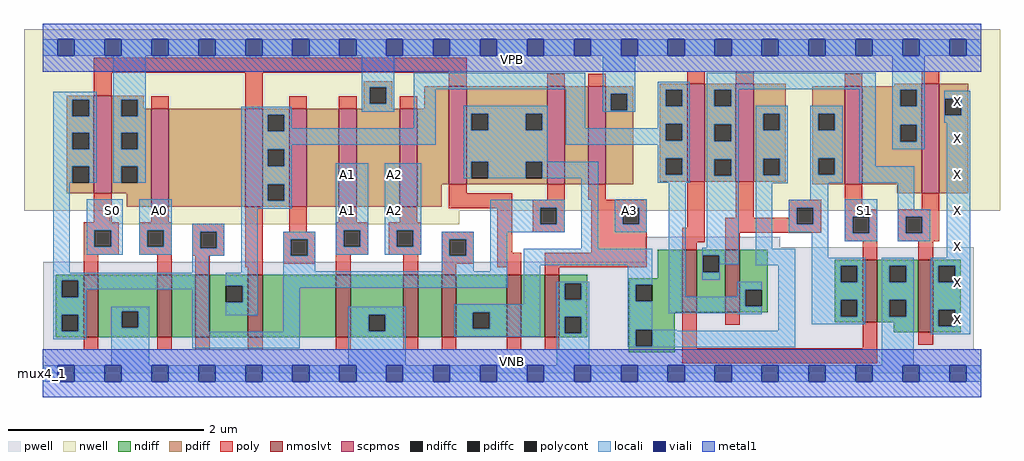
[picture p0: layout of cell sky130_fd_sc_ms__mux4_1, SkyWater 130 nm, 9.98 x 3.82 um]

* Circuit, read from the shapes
.subckt sky130_fd_sc_ms__mux4_1 A0 A1 A2 A3 S0 S1 VGND VNB VPB VPWR X
XM1 VGND S0 n1 VNB sky130_fd_pr__nfet_01v8_lvt w=0.64 l=0.15
XM2 n2 A0 VGND VNB sky130_fd_pr__nfet_01v8_lvt w=0.64 l=0.15
XM3 n3 n1 n2 VNB sky130_fd_pr__nfet_01v8_lvt w=0.64 l=0.15
XM4 n4 S0 n3 VNB sky130_fd_pr__nfet_01v8_lvt w=0.64 l=0.15
XM5 VGND A1 n4 VNB sky130_fd_pr__nfet_01v8_lvt w=0.64 l=0.15
XM6 n5 A2 VGND VNB sky130_fd_pr__nfet_01v8_lvt w=0.64 l=0.15
XM7 n6 n1 n5 VNB sky130_fd_pr__nfet_01v8_lvt w=0.64 l=0.15
XM8 n7 S0 n6 VNB sky130_fd_pr__nfet_01v8_lvt w=0.64 l=0.15
XM9 VGND A3 n7 VNB sky130_fd_pr__nfet_01v8_lvt w=0.64 l=0.15
XM10 n8 S1 n6 VNB sky130_fd_pr__nfet_01v8_lvt w=0.64 l=0.15
XM11 n3 n9 n8 VNB sky130_fd_pr__nfet_01v8_lvt w=0.64 l=0.15
XM12 VGND S1 n9 VNB sky130_fd_pr__nfet_01v8_lvt w=0.64 l=0.15
XM13 X n8 VGND VNB sky130_fd_pr__nfet_01v8_lvt w=0.74 l=0.15
XM14 VPWR S0 n1 VPB sky130_fd_pr__pfet_01v8 w=1 l=0.18
XM15 n10 A0 VPWR VPB sky130_fd_pr__pfet_01v8 w=1 l=0.18
XM16 n3 S0 n10 VPB sky130_fd_pr__pfet_01v8 w=1 l=0.18
XM17 n11 n1 n3 VPB sky130_fd_pr__pfet_01v8 w=1 l=0.18
XM18 VPWR A1 n11 VPB sky130_fd_pr__pfet_01v8 w=1 l=0.18
XM19 n12 A2 VPWR VPB sky130_fd_pr__pfet_01v8 w=1 l=0.18
XM20 n6 S0 n12 VPB sky130_fd_pr__pfet_01v8 w=1 l=0.18
XM21 n13 n1 n6 VPB sky130_fd_pr__pfet_01v8 w=1 l=0.18
XM22 VPWR A3 n13 VPB sky130_fd_pr__pfet_01v8 w=1 l=0.18
XM23 n8 S1 n3 VPB sky130_fd_pr__pfet_01v8 w=1 l=0.18
XM24 n6 n9 n8 VPB sky130_fd_pr__pfet_01v8 w=1 l=0.18
XM25 VPWR S1 n9 VPB sky130_fd_pr__pfet_01v8 w=1 l=0.18
XM26 X n8 VPWR VPB sky130_fd_pr__pfet_01v8 w=1.12 l=0.18
.ends

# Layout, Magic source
magic
tech sky130A
magscale 1 2
<< nwell >>
rect -38 332 1958 704
rect 136 305 852 332
<< pwell >>
rect 1232 258 1509 279
rect 1232 228 1904 258
rect 1 49 1904 228
rect 0 0 1920 49
<< scpmos >>
rect 105 368 141 568
rect 222 341 258 541
rect 414 341 450 541
rect 504 341 540 541
rect 606 341 642 541
rect 730 341 766 541
rect 831 387 867 587
rect 1032 387 1068 587
rect 1116 387 1152 587
rect 1318 392 1354 592
rect 1418 392 1454 592
rect 1640 387 1676 587
rect 1798 368 1834 592
<< nmoslvt >>
rect 84 74 114 202
rect 234 74 264 202
rect 312 74 342 202
rect 420 74 450 202
rect 600 74 630 202
rect 738 74 768 202
rect 816 74 846 202
rect 949 74 979 202
rect 1027 74 1057 202
rect 1308 125 1338 253
rect 1396 125 1426 253
rect 1677 104 1707 232
rect 1791 84 1821 232
<< ndiff >>
rect 27 190 84 202
rect 27 156 39 190
rect 73 156 84 190
rect 27 120 84 156
rect 27 86 39 120
rect 73 86 84 120
rect 27 74 84 86
rect 114 127 234 202
rect 114 93 162 127
rect 196 93 234 127
rect 114 74 234 93
rect 264 74 312 202
rect 342 179 420 202
rect 342 145 375 179
rect 409 145 420 179
rect 342 74 420 145
rect 450 74 600 202
rect 630 120 738 202
rect 630 86 667 120
rect 701 86 738 120
rect 630 74 738 86
rect 768 74 816 202
rect 846 125 949 202
rect 846 91 880 125
rect 914 91 949 125
rect 846 74 949 91
rect 979 74 1027 202
rect 1057 184 1114 202
rect 1258 194 1308 253
rect 1057 150 1068 184
rect 1102 150 1114 184
rect 1057 116 1114 150
rect 1057 82 1068 116
rect 1102 82 1114 116
rect 1057 74 1114 82
rect 1199 181 1308 194
rect 1199 147 1213 181
rect 1247 147 1308 181
rect 1199 125 1308 147
rect 1338 241 1396 253
rect 1338 207 1350 241
rect 1384 207 1396 241
rect 1338 125 1396 207
rect 1426 171 1483 253
rect 1426 137 1437 171
rect 1471 137 1483 171
rect 1426 125 1483 137
rect 1620 220 1677 232
rect 1620 186 1632 220
rect 1666 186 1677 220
rect 1620 150 1677 186
rect 1199 89 1293 125
rect 1199 55 1213 89
rect 1247 55 1293 89
rect 1199 43 1293 55
rect 1620 116 1632 150
rect 1666 116 1677 150
rect 1620 104 1677 116
rect 1707 220 1791 232
rect 1707 186 1732 220
rect 1766 186 1791 220
rect 1707 150 1791 186
rect 1707 116 1732 150
rect 1766 116 1791 150
rect 1707 104 1791 116
rect 1741 84 1791 104
rect 1821 220 1878 232
rect 1821 186 1832 220
rect 1866 186 1878 220
rect 1821 130 1878 186
rect 1821 96 1832 130
rect 1866 96 1878 130
rect 1821 84 1878 96
<< pdiff >>
rect 49 560 105 568
rect 49 526 61 560
rect 95 526 105 560
rect 49 492 105 526
rect 49 458 61 492
rect 95 458 105 492
rect 49 424 105 458
rect 49 390 61 424
rect 95 390 105 424
rect 49 368 105 390
rect 141 560 207 568
rect 141 526 161 560
rect 195 541 207 560
rect 657 585 715 597
rect 657 551 669 585
rect 703 551 715 585
rect 657 541 715 551
rect 781 541 831 587
rect 195 526 222 541
rect 141 492 222 526
rect 141 458 161 492
rect 195 458 222 492
rect 141 424 222 458
rect 141 390 161 424
rect 195 390 222 424
rect 141 368 222 390
rect 172 341 222 368
rect 258 341 414 541
rect 450 529 504 541
rect 450 495 460 529
rect 494 495 504 529
rect 450 458 504 495
rect 450 424 460 458
rect 494 424 504 458
rect 450 387 504 424
rect 450 353 460 387
rect 494 353 504 387
rect 450 341 504 353
rect 540 341 606 541
rect 642 341 730 541
rect 766 387 831 541
rect 867 531 1032 587
rect 867 497 877 531
rect 911 497 988 531
rect 1022 497 1032 531
rect 867 433 1032 497
rect 867 399 877 433
rect 911 399 988 433
rect 1022 399 1032 433
rect 867 387 1032 399
rect 1068 387 1116 587
rect 1152 572 1208 587
rect 1152 538 1162 572
rect 1196 538 1208 572
rect 1152 387 1208 538
rect 1262 580 1318 592
rect 1262 546 1274 580
rect 1308 546 1318 580
rect 1262 510 1318 546
rect 1262 476 1274 510
rect 1308 476 1318 510
rect 1262 440 1318 476
rect 1262 406 1274 440
rect 1308 406 1318 440
rect 1262 392 1318 406
rect 1354 580 1418 592
rect 1354 546 1374 580
rect 1408 546 1418 580
rect 1354 509 1418 546
rect 1354 475 1374 509
rect 1408 475 1418 509
rect 1354 438 1418 475
rect 1354 404 1374 438
rect 1408 404 1418 438
rect 1354 392 1418 404
rect 1454 531 1520 592
rect 1742 587 1798 592
rect 1454 497 1474 531
rect 1508 497 1520 531
rect 1454 439 1520 497
rect 1454 405 1474 439
rect 1508 405 1520 439
rect 1454 392 1520 405
rect 1574 531 1640 587
rect 1574 497 1586 531
rect 1620 497 1640 531
rect 1574 440 1640 497
rect 1574 406 1586 440
rect 1620 406 1640 440
rect 766 341 816 387
rect 1574 387 1640 406
rect 1676 580 1798 587
rect 1676 546 1754 580
rect 1788 546 1798 580
rect 1676 508 1798 546
rect 1676 474 1754 508
rect 1788 474 1798 508
rect 1676 387 1798 474
rect 1748 368 1798 387
rect 1834 562 1893 592
rect 1834 528 1845 562
rect 1879 528 1893 562
rect 1834 368 1893 528
<< ndiffc >>
rect 39 156 73 190
rect 39 86 73 120
rect 162 93 196 127
rect 375 145 409 179
rect 667 86 701 120
rect 880 91 914 125
rect 1068 150 1102 184
rect 1068 82 1102 116
rect 1213 147 1247 181
rect 1350 207 1384 241
rect 1437 137 1471 171
rect 1632 186 1666 220
rect 1213 55 1247 89
rect 1632 116 1666 150
rect 1732 186 1766 220
rect 1732 116 1766 150
rect 1832 186 1866 220
rect 1832 96 1866 130
<< pdiffc >>
rect 61 526 95 560
rect 61 458 95 492
rect 61 390 95 424
rect 161 526 195 560
rect 669 551 703 585
rect 161 458 195 492
rect 161 390 195 424
rect 460 495 494 529
rect 460 424 494 458
rect 460 353 494 387
rect 877 497 911 531
rect 988 497 1022 531
rect 877 399 911 433
rect 988 399 1022 433
rect 1162 538 1196 572
rect 1274 546 1308 580
rect 1274 476 1308 510
rect 1274 406 1308 440
rect 1374 546 1408 580
rect 1374 475 1408 509
rect 1374 404 1408 438
rect 1474 497 1508 531
rect 1474 405 1508 439
rect 1586 497 1620 531
rect 1586 406 1620 440
rect 1754 546 1788 580
rect 1754 474 1788 508
rect 1845 528 1879 562
<< poly >>
rect 105 615 867 645
rect 105 568 141 615
rect 222 541 258 567
rect 414 541 450 615
rect 831 587 867 615
rect 1032 587 1068 613
rect 1116 587 1152 613
rect 1318 592 1354 618
rect 1418 592 1454 618
rect 504 541 540 567
rect 606 541 642 567
rect 730 541 766 567
rect 105 309 141 368
rect 1640 587 1676 613
rect 1798 592 1834 618
rect 831 368 867 387
rect 222 309 258 341
rect 84 293 156 309
rect 84 259 106 293
rect 140 259 156 293
rect 84 243 156 259
rect 198 293 264 309
rect 198 259 214 293
rect 248 259 264 293
rect 198 243 264 259
rect 84 202 114 243
rect 234 202 264 243
rect 306 290 372 306
rect 306 256 322 290
rect 356 256 372 290
rect 306 240 372 256
rect 312 202 342 240
rect 414 217 450 341
rect 504 290 540 341
rect 606 309 642 341
rect 730 309 766 341
rect 831 338 960 368
rect 1032 355 1068 387
rect 1116 355 1152 387
rect 600 293 666 309
rect 492 274 558 290
rect 492 240 508 274
rect 542 240 558 274
rect 492 224 558 240
rect 600 259 616 293
rect 650 259 666 293
rect 600 243 666 259
rect 708 293 774 309
rect 708 259 724 293
rect 758 259 774 293
rect 708 243 774 259
rect 816 274 882 290
rect 420 202 450 217
rect 600 202 630 243
rect 738 202 768 243
rect 816 240 832 274
rect 866 240 882 274
rect 816 224 882 240
rect 930 247 960 338
rect 1002 339 1068 355
rect 1002 305 1018 339
rect 1052 305 1068 339
rect 1002 289 1068 305
rect 1122 339 1236 355
rect 1122 305 1186 339
rect 1220 305 1236 339
rect 1122 247 1236 305
rect 1318 298 1354 392
rect 1418 318 1454 392
rect 1526 339 1592 355
rect 1526 318 1542 339
rect 1308 268 1354 298
rect 1396 305 1542 318
rect 1576 305 1592 339
rect 1640 336 1676 387
rect 1798 336 1834 368
rect 1396 288 1592 305
rect 1641 320 1707 336
rect 1308 253 1338 268
rect 1396 253 1426 288
rect 1641 286 1657 320
rect 1691 286 1707 320
rect 1641 270 1707 286
rect 1749 320 1834 336
rect 1749 286 1765 320
rect 1799 286 1834 320
rect 1749 270 1834 286
rect 816 202 846 224
rect 930 217 979 247
rect 949 202 979 217
rect 1027 217 1236 247
rect 1027 202 1057 217
rect 1677 232 1707 270
rect 1791 232 1821 270
rect 84 48 114 74
rect 234 48 264 74
rect 312 48 342 74
rect 420 48 450 74
rect 600 48 630 74
rect 738 48 768 74
rect 816 48 846 74
rect 949 48 979 74
rect 1027 48 1057 74
rect 1308 51 1338 125
rect 1396 99 1426 125
rect 1677 51 1707 104
rect 1791 58 1821 84
rect 1308 21 1707 51
<< polycont >>
rect 106 259 140 293
rect 214 259 248 293
rect 322 256 356 290
rect 508 240 542 274
rect 616 259 650 293
rect 724 259 758 293
rect 832 240 866 274
rect 1018 305 1052 339
rect 1186 305 1220 339
rect 1542 305 1576 339
rect 1657 286 1691 320
rect 1765 286 1799 320
<< locali >>
rect 0 649 31 683
rect 65 649 127 683
rect 161 649 223 683
rect 257 649 319 683
rect 353 649 415 683
rect 449 649 511 683
rect 545 649 607 683
rect 641 649 703 683
rect 737 649 799 683
rect 833 649 895 683
rect 929 649 991 683
rect 1025 649 1087 683
rect 1121 649 1183 683
rect 1217 649 1279 683
rect 1313 649 1375 683
rect 1409 649 1471 683
rect 1505 649 1567 683
rect 1601 649 1663 683
rect 1697 649 1759 683
rect 1793 649 1855 683
rect 1889 649 1920 683
rect 22 560 111 576
rect 22 526 61 560
rect 95 526 111 560
rect 22 492 111 526
rect 22 458 61 492
rect 95 458 111 492
rect 22 424 111 458
rect 22 390 61 424
rect 95 390 111 424
rect 145 560 211 649
rect 145 526 161 560
rect 195 526 211 560
rect 653 585 719 649
rect 653 551 669 585
rect 703 551 719 585
rect 145 492 211 526
rect 145 458 161 492
rect 195 458 211 492
rect 145 424 211 458
rect 145 390 161 424
rect 195 390 211 424
rect 406 529 510 545
rect 653 535 719 551
rect 759 581 1110 615
rect 406 495 460 529
rect 494 501 510 529
rect 759 501 804 581
rect 494 495 804 501
rect 406 467 804 495
rect 861 531 1033 547
rect 861 497 877 531
rect 911 497 988 531
rect 1022 497 1033 531
rect 406 458 510 467
rect 406 424 460 458
rect 494 424 510 458
rect 861 433 1033 497
rect 1070 501 1110 581
rect 1146 572 1212 649
rect 1146 538 1162 572
rect 1196 538 1212 572
rect 1146 535 1212 538
rect 1258 580 1324 596
rect 1258 546 1274 580
rect 1308 546 1324 580
rect 1258 510 1324 546
rect 1258 501 1274 510
rect 1070 476 1274 501
rect 1308 476 1324 510
rect 1070 467 1324 476
rect 1258 440 1324 467
rect 22 206 56 390
rect 406 387 510 424
rect 90 293 164 356
rect 90 259 106 293
rect 140 259 164 293
rect 90 243 164 259
rect 198 293 264 356
rect 406 353 460 387
rect 494 353 510 387
rect 406 337 510 353
rect 198 259 214 293
rect 248 259 264 293
rect 198 243 264 259
rect 306 290 372 306
rect 306 256 322 290
rect 356 256 372 290
rect 306 240 372 256
rect 306 206 340 240
rect 406 206 440 337
rect 600 293 666 430
rect 22 190 340 206
rect 22 156 39 190
rect 73 172 340 190
rect 73 156 89 172
rect 22 120 89 156
rect 22 86 39 120
rect 73 86 89 120
rect 22 70 89 86
rect 140 127 218 136
rect 140 93 162 127
rect 196 93 218 127
rect 140 17 218 93
rect 306 85 340 172
rect 375 179 440 206
rect 409 145 440 179
rect 375 119 440 145
rect 492 274 558 290
rect 492 240 508 274
rect 542 240 558 274
rect 600 259 616 293
rect 650 259 666 293
rect 600 243 666 259
rect 700 293 774 430
rect 861 399 877 433
rect 911 399 988 433
rect 1022 399 1136 433
rect 700 259 724 293
rect 758 259 774 293
rect 916 339 1068 355
rect 916 305 1018 339
rect 1052 305 1068 339
rect 700 243 774 259
rect 816 274 882 290
rect 492 209 558 240
rect 816 240 832 274
rect 866 240 882 274
rect 816 209 882 240
rect 916 289 1068 305
rect 916 209 950 289
rect 1102 255 1136 399
rect 1258 406 1274 440
rect 1308 406 1324 440
rect 1258 390 1324 406
rect 1358 581 1704 615
rect 1358 580 1424 581
rect 1358 546 1374 580
rect 1408 546 1424 580
rect 1358 509 1424 546
rect 1358 475 1374 509
rect 1408 475 1424 509
rect 1358 438 1424 475
rect 1358 404 1374 438
rect 1408 404 1424 438
rect 1170 339 1236 356
rect 1170 305 1186 339
rect 1220 305 1236 339
rect 1170 289 1236 305
rect 492 175 950 209
rect 984 221 1247 255
rect 492 85 526 175
rect 984 141 1018 221
rect 306 51 526 85
rect 625 120 743 136
rect 625 86 667 120
rect 701 86 743 120
rect 625 17 743 86
rect 842 125 1018 141
rect 842 91 880 125
rect 914 91 1018 125
rect 842 75 1018 91
rect 1052 184 1118 187
rect 1052 150 1068 184
rect 1102 150 1118 184
rect 1052 116 1118 150
rect 1052 82 1068 116
rect 1102 82 1118 116
rect 1052 17 1118 82
rect 1197 181 1247 221
rect 1197 147 1213 181
rect 1197 89 1247 147
rect 1281 157 1315 390
rect 1358 257 1424 404
rect 1349 241 1424 257
rect 1349 207 1350 241
rect 1384 223 1424 241
rect 1458 531 1524 547
rect 1458 497 1474 531
rect 1508 497 1524 531
rect 1458 439 1524 497
rect 1458 405 1474 439
rect 1508 405 1524 439
rect 1458 389 1524 405
rect 1570 531 1636 547
rect 1570 497 1586 531
rect 1620 497 1636 531
rect 1570 440 1636 497
rect 1570 406 1586 440
rect 1620 406 1636 440
rect 1570 390 1636 406
rect 1670 424 1704 581
rect 1738 580 1804 649
rect 1738 546 1754 580
rect 1788 546 1804 580
rect 1738 508 1804 546
rect 1844 562 1897 578
rect 1844 528 1845 562
rect 1879 528 1897 562
rect 1844 512 1897 528
rect 1738 474 1754 508
rect 1788 474 1804 508
rect 1738 458 1804 474
rect 1670 390 1783 424
rect 1458 255 1492 389
rect 1570 355 1607 390
rect 1526 339 1607 355
rect 1526 305 1542 339
rect 1576 305 1607 339
rect 1526 289 1607 305
rect 1384 207 1385 223
rect 1458 221 1539 255
rect 1349 191 1385 207
rect 1421 171 1471 187
rect 1421 157 1437 171
rect 1281 137 1437 157
rect 1281 123 1471 137
rect 1421 121 1471 123
rect 1197 55 1213 89
rect 1247 87 1297 89
rect 1505 87 1539 221
rect 1573 236 1607 289
rect 1641 320 1707 356
rect 1641 286 1657 320
rect 1691 286 1707 320
rect 1641 270 1707 286
rect 1749 336 1783 390
rect 1749 320 1815 336
rect 1749 286 1765 320
rect 1799 286 1815 320
rect 1749 270 1815 286
rect 1849 236 1897 512
rect 1573 220 1682 236
rect 1573 186 1632 220
rect 1666 186 1682 220
rect 1573 150 1682 186
rect 1573 116 1632 150
rect 1666 116 1682 150
rect 1573 100 1682 116
rect 1716 220 1782 236
rect 1716 186 1732 220
rect 1766 186 1782 220
rect 1716 150 1782 186
rect 1716 116 1732 150
rect 1766 116 1782 150
rect 1247 55 1539 87
rect 1197 53 1539 55
rect 1716 17 1782 116
rect 1816 220 1897 236
rect 1816 186 1832 220
rect 1866 186 1897 220
rect 1816 130 1897 186
rect 1816 96 1832 130
rect 1866 96 1897 130
rect 1816 80 1897 96
rect 0 -17 31 17
rect 65 -17 127 17
rect 161 -17 223 17
rect 257 -17 319 17
rect 353 -17 415 17
rect 449 -17 511 17
rect 545 -17 607 17
rect 641 -17 703 17
rect 737 -17 799 17
rect 833 -17 895 17
rect 929 -17 991 17
rect 1025 -17 1087 17
rect 1121 -17 1183 17
rect 1217 -17 1279 17
rect 1313 -17 1375 17
rect 1409 -17 1471 17
rect 1505 -17 1567 17
rect 1601 -17 1663 17
rect 1697 -17 1759 17
rect 1793 -17 1855 17
rect 1889 -17 1920 17
<< viali >>
rect 31 649 65 683
rect 127 649 161 683
rect 223 649 257 683
rect 319 649 353 683
rect 415 649 449 683
rect 511 649 545 683
rect 607 649 641 683
rect 703 649 737 683
rect 799 649 833 683
rect 895 649 929 683
rect 991 649 1025 683
rect 1087 649 1121 683
rect 1183 649 1217 683
rect 1279 649 1313 683
rect 1375 649 1409 683
rect 1471 649 1505 683
rect 1567 649 1601 683
rect 1663 649 1697 683
rect 1759 649 1793 683
rect 1855 649 1889 683
rect 31 -17 65 17
rect 127 -17 161 17
rect 223 -17 257 17
rect 319 -17 353 17
rect 415 -17 449 17
rect 511 -17 545 17
rect 607 -17 641 17
rect 703 -17 737 17
rect 799 -17 833 17
rect 895 -17 929 17
rect 991 -17 1025 17
rect 1087 -17 1121 17
rect 1183 -17 1217 17
rect 1279 -17 1313 17
rect 1375 -17 1409 17
rect 1471 -17 1505 17
rect 1567 -17 1601 17
rect 1663 -17 1697 17
rect 1759 -17 1793 17
rect 1855 -17 1889 17
<< metal1 >>
rect 0 683 1920 715
rect 0 649 31 683
rect 65 649 127 683
rect 161 649 223 683
rect 257 649 319 683
rect 353 649 415 683
rect 449 649 511 683
rect 545 649 607 683
rect 641 649 703 683
rect 737 649 799 683
rect 833 649 895 683
rect 929 649 991 683
rect 1025 649 1087 683
rect 1121 649 1183 683
rect 1217 649 1279 683
rect 1313 649 1375 683
rect 1409 649 1471 683
rect 1505 649 1567 683
rect 1601 649 1663 683
rect 1697 649 1759 683
rect 1793 649 1855 683
rect 1889 649 1920 683
rect 0 617 1920 649
rect 0 17 1920 49
rect 0 -17 31 17
rect 65 -17 127 17
rect 161 -17 223 17
rect 257 -17 319 17
rect 353 -17 415 17
rect 449 -17 511 17
rect 545 -17 607 17
rect 641 -17 703 17
rect 737 -17 799 17
rect 833 -17 895 17
rect 929 -17 991 17
rect 1025 -17 1087 17
rect 1121 -17 1183 17
rect 1217 -17 1279 17
rect 1313 -17 1375 17
rect 1409 -17 1471 17
rect 1505 -17 1567 17
rect 1601 -17 1663 17
rect 1697 -17 1759 17
rect 1793 -17 1855 17
rect 1889 -17 1920 17
rect 0 -49 1920 -17
<< labels >>
flabel pwell s 0 0 1920 49 0 FreeSans 200 0 0 0 VNB
port 8 nsew ground bidirectional
flabel nwell s 0 617 1920 666 0 FreeSans 200 0 0 0 VPB
port 9 nsew power bidirectional
rlabel comment s 0 0 0 0 4 mux4_1
flabel metal1 s 0 617 1920 666 0 FreeSans 340 0 0 0 VPWR
port 10 nsew power bidirectional
flabel metal1 s 0 0 1920 49 0 FreeSans 340 0 0 0 VGND
port 7 nsew ground bidirectional
flabel locali s 127 316 161 350 0 FreeSans 340 0 0 0 S0
port 5 nsew signal input
flabel locali s 1183 316 1217 350 0 FreeSans 340 0 0 0 A3
port 4 nsew signal input
flabel locali s 703 316 737 350 0 FreeSans 340 0 0 0 A2
port 3 nsew signal input
flabel locali s 703 390 737 424 0 FreeSans 340 0 0 0 A2
port 3 nsew signal input
flabel locali s 607 316 641 350 0 FreeSans 340 0 0 0 A1
port 2 nsew signal input
flabel locali s 607 390 641 424 0 FreeSans 340 0 0 0 A1
port 2 nsew signal input
flabel locali s 223 316 257 350 0 FreeSans 340 0 0 0 A0
port 1 nsew signal input
flabel locali s 1663 316 1697 350 0 FreeSans 340 0 0 0 S1
port 6 nsew signal input
flabel locali s 1855 94 1889 128 0 FreeSans 340 0 0 0 X
port 11 nsew signal output
flabel locali s 1855 168 1889 202 0 FreeSans 340 0 0 0 X
port 11 nsew signal output
flabel locali s 1855 242 1889 276 0 FreeSans 340 0 0 0 X
port 11 nsew signal output
flabel locali s 1855 316 1889 350 0 FreeSans 340 0 0 0 X
port 11 nsew signal output
flabel locali s 1855 390 1889 424 0 FreeSans 340 0 0 0 X
port 11 nsew signal output
flabel locali s 1855 464 1889 498 0 FreeSans 340 0 0 0 X
port 11 nsew signal output
flabel locali s 1855 538 1889 572 0 FreeSans 340 0 0 0 X
port 11 nsew signal output
<< properties >>
string LEFsite unit
string LEFclass CORE
string FIXED_BBOX 0 0 1920 666
string GDS_FILE $PDKPATH/libs.ref/sky130_fd_sc_ms/gds/sky130_fd_sc_ms.gds
string LEFsymmetry X Y
string GDS_END 496386
string GDS_START 482452
<< end >>
